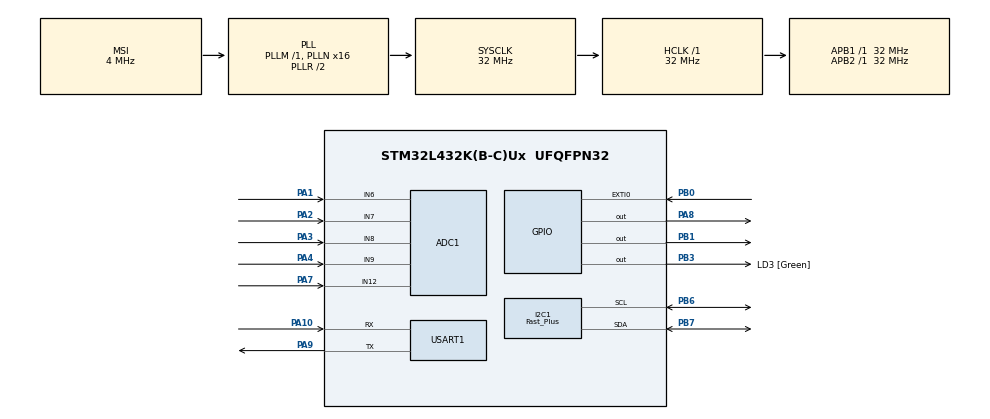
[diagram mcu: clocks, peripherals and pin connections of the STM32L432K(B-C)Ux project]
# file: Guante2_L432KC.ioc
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Mcu.Family=STM32L4
FREERTOS.Queues01=Queue1,16,struct Datos_Analogicos,0,Dynamic,NULL,NULL;Queue2,16,struct Datos_Gyro,0,Dynamic,NULL,NULL
RCC.CortexFreq_Value=32000000
I2C1.I2C_Speed_Mode=I2C_Fast_Plus
ADC1.ContinuousConvMode=ENABLE
NVIC.TIM6_DAC_IRQn=true\:5\:0\:false\:false\:true\:true\:true\:true
SH.SharedAnalog_PA4.0=GPIO_Analog
SH.SharedAnalog_PA4.1=ADC1_IN9,IN9-Single-Ended
FREERTOS.Events01=Flag,Dynamic,NULL
ADC1.OffsetNumber-4\#ChannelRegularConversion=ADC_OFFSET_NONE
PA0.GPIO_Label=MCO [High speed clock in]
PC15-OSC32_OUT\ (PC15).Mode=LSE-External-Oscillator
RCC.SYSCLKSource=RCC_SYSCLKSOURCE_PLLCLK
ProjectManager.StackSize=0x400
PB3\ (JTDO-TRACESWO).Signal=GPIO_Output
PC14-OSC32_IN\ (PC14).Mode=LSE-External-Oscillator
VP_FREERTOS_VS_CMSIS_V2.Mode=CMSIS_V2
PA14\ (JTCK-SWCLK).Signal=SYS_JTCK-SWCLK
VP_TIM7_VS_ClockSourceINT.Mode=Enable_Timer
SH.SharedAnalog_PA3.0=GPIO_Analog
ADC1.Channel-3\#ChannelRegularConversion=ADC_CHANNEL_9
RCC.HCLKFreq_Value=32000000
SH.SharedAnalog_PA3.1=ADC1_IN8,IN8-Single-Ended
RCC.APB2TimFreq_Value=32000000
PB6.Signal=I2C1_SCL
ADC1.Channel-2\#ChannelRegularConversion=ADC_CHANNEL_8
PB6.Mode=I2C
TIM7.Period=100
RCC.AHBFreq_Value=32000000
ADC1.Channel-0\#ChannelRegularConversion=ADC_CHANNEL_6
RCC.HSE_VALUE=8000000
RCC.PLLMUL=RCC_PLLMUL_4
ADC1.SamplingTime-4\#ChannelRegularConversion=ADC_SAMPLETIME_640CYCLES_5
ADC1.Rank-2\#ChannelRegularConversion=3
PA0.Mode=HSE-External-Clock-Source-for-LittleOrca
PB7.Signal=I2C1_SDA
PA8.Signal=GPIO_Output
ADC1.SamplingTime-0\#ChannelRegularConversion=ADC_SAMPLETIME_640CYCLES_5
PA0.Signal=RCC_CK_IN
Mcu.Package=UFQFPN32
PB1.Signal=GPIO_Output
PA10.Signal=USART1_RX
ADC1.OffsetNumber-1\#ChannelRegularConversion=ADC_OFFSET_NONE
RCC.APB1TimFreq_Value=32000000
PA13\ (JTMS-SWDIO).Signal=SYS_JTMS-SWDIO
NVIC.USART1_IRQn=true\:5\:0\:false\:false\:true\:true\:true\:true
NVIC.TIM7_IRQn=true\:5\:0\:false\:false\:true\:true\:true\:true
RCC.HSI48_VALUE=48000000
ADC1.Rank-4\#ChannelRegularConversion=5
RCC.PLLSAI1N=16
PA3.Signal=SharedAnalog_PA3
RCC.MSI_VALUE=4000000
PA14\ (JTCK-SWCLK).Mode=Serial_Wire
FREERTOS.Tasks01=Tarea1,24,128,Inicializacion,Default,NULL,Dynamic,NULL,NULL;Tarea2,24,128,AnalogRead,Default,NULL,Dynamic,NULL,NULL;Tarea3,24,128,Gyro,Default,NULL,Dynamic,NULL,NULL;Tarea4,24,128,EnvioDatos,Default,NULL,Dynamic,NULL,NULL
ADC1.Rank-0\#ChannelRegularConversion=1
ADC1.Channel-4\#ChannelRegularConversion=ADC_CHANNEL_12
PA10.Mode=Asynchronous
ADC1.OffsetNumber-0\#ChannelRegularConversion=ADC_OFFSET_NONE
ADC1.OffsetNumber-3\#ChannelRegularConversion=ADC_OFFSET_NONE
TIM6.Prescaler=320
VP_TIM6_VS_ClockSourceINT.Mode=Enable_Timer
PC15-OSC32_OUT\ (PC15).Signal=RCC_OSC32_OUT
PA14\ (JTCK-SWCLK).GPIO_Label=SWCLK
PB3\ (JTDO-TRACESWO).GPIO_Label=LD3 [Green]
ADC1.SamplingTime-2\#ChannelRegularConversion=ADC_SAMPLETIME_640CYCLES_5
USART1.VirtualMode-Asynchronous=VM_ASYNC
RCC.HSI16_VALUE=16000000
PA9.Mode=Asynchronous
SH.SharedAnalog_PA7.1=ADC1_IN12,IN12-Single-Ended
ProjectManager.TargetToolchain=STM32CubeIDE
SH.SharedAnalog_PA7.0=GPIO_Analog
PA9.Signal=USART1_TX
ADC1.Channel-1\#ChannelRegularConversion=ADC_CHANNEL_7
I2C1.Timing=0x00100413
RCC.USBFreq_Value=32000000
PA1.Signal=SharedAnalog_PA1
TIM7.Prescaler=320
board=NUCLEO-L432KC
RCC.VCOOutputFreq_Value=64000000
RCC.APB2Freq_Value=32000000
PA13\ (JTMS-SWDIO).GPIO_Label=SWDIO
SH.SharedAnalog_PA2.0=GPIO_Analog
SH.SharedAnalog_PA2.1=ADC1_IN7,IN7-Single-Ended
RCC.ADCFreq_Value=32000000
ADC1.NbrOfConversion=5
ADC1.OffsetNumber-2\#ChannelRegularConversion=ADC_OFFSET_NONE
Mcu.Name=STM32L432K(B-C)Ux
PA2.Signal=SharedAnalog_PA2
PA13\ (JTMS-SWDIO).Mode=Serial_Wire
NVIC.EXTI0_IRQn=true\:5\:0\:false\:false\:true\:true\:true\:true
PA4.Signal=SharedAnalog_PA4
ADC1.SamplingTime-1\#ChannelRegularConversion=ADC_SAMPLETIME_640CYCLES_5
RCC.SYSCLKFreq_VALUE=32000000
ADC1.master=1
ADC1.Rank-3\#ChannelRegularConversion=4
ADC1.SamplingTime-3\#ChannelRegularConversion=ADC_SAMPLETIME_640CYCLES_5
PC14-OSC32_IN\ (PC14).Signal=RCC_OSC32_IN
ADC1.Rank-1\#ChannelRegularConversion=2
PB7.Mode=I2C
ProjectManager.HeapSize=0x200
RCC.HSI_VALUE=16000000
SH.SharedAnalog_PA1.1=ADC1_IN6,IN6-Single-Ended
NVIC.PriorityGroup=NVIC_PRIORITYGROUP_4
SH.SharedAnalog_PA1.0=GPIO_Analog
ADC1.NbrOfConversionFlag=1
RCC.PLLN=16
RCC.APB1Freq_Value=32000000
PB0.Signal=GPXTI0
PA7.Signal=SharedAnalog_PA7

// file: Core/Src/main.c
/* USER CODE BEGIN Header */
/**
  ******************************************************************************
  * @file           : main.c
  * @brief          : Main program body
  ******************************************************************************
  * @attention
  *
  * <h2><center>&copy; Copyright (c) 2021 STMicroelectronics.
  * All rights reserved.</center></h2>
  *
  * This software component is licensed by ST under BSD 3-Clause license,
  * the "License"; You may not use this file except in compliance with the
  * License. You may obtain a copy of the License at:
  *                        opensource.org/licenses/BSD-3-Clause
  *
  ******************************************************************************
  */
/* USER CODE END Header */
#include "main.h"
#include "cmsis_os.h"
#include "math.h"
#include "fonts.h"
#include "ssd1306.h"
#include "Animacion_Carga.h"

#include "app_common_typedef.h"
#include "MPU6050.h"

#define RESCALE_GYRO 90

#define Pulgar
#define Indice
#define Medio
#define Anular
#define Menique

#define Gyroscope
#define Zigbee

ADC_HandleTypeDef hadc1;

I2C_HandleTypeDef hi2c1;

TIM_HandleTypeDef htim6;
TIM_HandleTypeDef htim7;

UART_HandleTypeDef huart1;

/* Definitions for Tarea1 */
osThreadId_t Tarea1Handle;
const osThreadAttr_t Tarea1_attributes = {
  .name = "Tarea1",
  .stack_size = 128 * 4,
  .priority = (osPriority_t) osPriorityNormal,
};
/* Definitions for Tarea2 */
osThreadId_t Tarea2Handle;
const osThreadAttr_t Tarea2_attributes = {
  .name = "Tarea2",
  .stack_size = 128 * 4,
  .priority = (osPriority_t) osPriorityNormal,
};
/* Definitions for Tarea3 */
osThreadId_t Tarea3Handle;
const osThreadAttr_t Tarea3_attributes = {
  .name = "Tarea3",
  .stack_size = 128 * 4,
  .priority = (osPriority_t) osPriorityNormal,
};
/* Definitions for Tarea4 */
osThreadId_t Tarea4Handle;
const osThreadAttr_t Tarea4_attributes = {
  .name = "Tarea4",
  .stack_size = 128 * 4,
  .priority = (osPriority_t) osPriorityNormal,
};
/* Definitions for Queue1 */
osMessageQueueId_t Queue1Handle;
const osMessageQueueAttr_t Queue1_attributes = {
  .name = "Queue1"
};
/* Definitions for Queue2 */
osMessageQueueId_t Queue2Handle;
const osMessageQueueAttr_t Queue2_attributes = {
  .name = "Queue2"
};
/* Definitions for Flag */
osEventFlagsId_t FlagHandle;
const osEventFlagsAttr_t Flag_attributes = {
  .name = "Flag"
};

void SystemClock_Config(void);
static void MX_GPIO_Init(void);
static void MX_ADC1_Init(void);
static void MX_I2C1_Init(void);
static void MX_TIM6_Init(void);
static void MX_USART1_UART_Init(void);
static void MX_TIM7_Init(void);
void Inicializacion(void *argument);
void AnalogRead(void *argument);
void Gyro(void *argument);
void EnvioDatos(void *argument);

/* USER CODE BEGIN 0 */

//GLOBAL VARIABLES HERE
float count_gyro = 0;
float dt = 0;
extern uint32_t TickGet;
uint8_t ISR_cascade = 0;

Init_State Flag_SSD_State = WAIT_TIMER_TO_BE_READY;
Gyro_State Flag_Gyro = SEARCHING_GYRO_I2C_DEVICE;
uint32_t analog_max[5]={4000,4000,4000,4000,4000};  // 0 es pulgar, 4 meñique
uint32_t analog_min[5]={0,0,0,0,0};  // 0 es pulgar, 4 meñique

//END GLOBAL VARIABLES

//DEBUG VARIABLES HERE

/* USER CODE END 0 */

int main(void)
{

  /* MCU Configuration--------------------------------------------------------*/

  /* Reset of all peripherals, Initializes the Flash interface and the Systick. */
  HAL_Init();

  /* Configure the system clock */
  SystemClock_Config();

  /* Initialize all configured peripherals */
  MX_GPIO_Init();
  MX_ADC1_Init();
  MX_I2C1_Init();
  MX_TIM6_Init();
  MX_USART1_UART_Init();
  MX_TIM7_Init();
  /* USER CODE BEGIN 2 */

  HAL_TIM_Base_Start_IT(&htim6);
  HAL_TIM_Base_Start_IT(&htim7);
  __HAL_UART_ENABLE_IT(&huart1,UART_IT_TC);

  /* USER CODE END 2 */

  /* Init scheduler */
  osKernelInitialize();

  /* Create the queue(s) */
  /* creation of Queue1 */
  Queue1Handle = osMessageQueueNew (16, sizeof(struct Datos_Analogicos), &Queue1_attributes);

  /* creation of Queue2 */
  Queue2Handle = osMessageQueueNew (16, sizeof(struct Datos_Gyro), &Queue2_attributes);

  /* Create the thread(s) */
  /* creation of Tarea1 */
  Tarea1Handle = osThreadNew(Inicializacion, NULL, &Tarea1_attributes);

  /* creation of Tarea2 */
  Tarea2Handle = osThreadNew(AnalogRead, NULL, &Tarea2_attributes);

  /* creation of Tarea3 */
  Tarea3Handle = osThreadNew(Gyro, NULL, &Tarea3_attributes);

  /* creation of Tarea4 */
  Tarea4Handle = osThreadNew(EnvioDatos, NULL, &Tarea4_attributes);

  /* Create the event(s) */
  /* creation of Flag */
  FlagHandle = osEventFlagsNew(&Flag_attributes);

  /* Start scheduler */
  osKernelStart();

  /* We should never get here as control is now taken by the scheduler */
  /* Infinite loop */
  while (1)
  {

  }
}

void ConvertData(uint8_t dato, char * datoAscii)
{
    uint8_t numDig = log10 (dato) + 1;

    char permut[3];
    itoa(dato,permut,10);

    if(2 == numDig)
    {
        *datoAscii = '0';
        datoAscii++;
        *datoAscii = permut[0];
        datoAscii++;
        *datoAscii = permut[1];
        datoAscii++;
        *datoAscii = NULL;
    }
    else if (1 == numDig)
    {
        *datoAscii = '0';
        datoAscii++;
        *datoAscii = '0';
        datoAscii++;
        *datoAscii = permut[0];
        datoAscii++;
        *datoAscii = NULL;
    }
    else
    {
        *datoAscii = permut[0];
        datoAscii++;
        *datoAscii = permut[1];
        datoAscii++;
        *datoAscii = permut[2];
        datoAscii++;
        *datoAscii = NULL;
    }
}
void SystemClock_Config(void)
{
  RCC_OscInitTypeDef RCC_OscInitStruct = {0};
  RCC_ClkInitTypeDef RCC_ClkInitStruct = {0};
  RCC_PeriphCLKInitTypeDef PeriphClkInit = {0};

  /** Configure LSE Drive Capability
  */
  HAL_PWR_EnableBkUpAccess();
  __HAL_RCC_LSEDRIVE_CONFIG(RCC_LSEDRIVE_LOW);
  /** Initializes the RCC Oscillators according to the specified parameters
  * in the RCC_OscInitTypeDef structure.
  */
  RCC_OscInitStruct.OscillatorType = RCC_OSCILLATORTYPE_LSE|RCC_OSCILLATORTYPE_MSI;
  RCC_OscInitStruct.LSEState = RCC_LSE_ON;
  RCC_OscInitStruct.MSIState = RCC_MSI_ON;
  RCC_OscInitStruct.MSICalibrationValue = 0;
  RCC_OscInitStruct.MSIClockRange = RCC_MSIRANGE_6;
  RCC_OscInitStruct.PLL.PLLState = RCC_PLL_ON;
  RCC_OscInitStruct.PLL.PLLSource = RCC_PLLSOURCE_MSI;
  RCC_OscInitStruct.PLL.PLLM = 1;
  RCC_OscInitStruct.PLL.PLLN = 16;
  RCC_OscInitStruct.PLL.PLLP = RCC_PLLP_DIV7;
  RCC_OscInitStruct.PLL.PLLQ = RCC_PLLQ_DIV2;
  RCC_OscInitStruct.PLL.PLLR = RCC_PLLR_DIV2;
  if (HAL_RCC_OscConfig(&RCC_OscInitStruct) != HAL_OK)
  {
    Error_Handler();
  }
  /** Initializes the CPU, AHB and APB buses clocks
  */
  RCC_ClkInitStruct.ClockType = RCC_CLOCKTYPE_HCLK|RCC_CLOCKTYPE_SYSCLK
                              |RCC_CLOCKTYPE_PCLK1|RCC_CLOCKTYPE_PCLK2;
  RCC_ClkInitStruct.SYSCLKSource = RCC_SYSCLKSOURCE_PLLCLK;
  RCC_ClkInitStruct.AHBCLKDivider = RCC_SYSCLK_DIV1;
  RCC_ClkInitStruct.APB1CLKDivider = RCC_HCLK_DIV1;
  RCC_ClkInitStruct.APB2CLKDivider = RCC_HCLK_DIV1;

  if (HAL_RCC_ClockConfig(&RCC_ClkInitStruct, FLASH_LATENCY_1) != HAL_OK)
  {
    Error_Handler();
  }
  PeriphClkInit.PeriphClockSelection = RCC_PERIPHCLK_USART1|RCC_PERIPHCLK_I2C1
                              |RCC_PERIPHCLK_ADC;
  PeriphClkInit.Usart1ClockSelection = RCC_USART1CLKSOURCE_PCLK2;
  PeriphClkInit.I2c1ClockSelection = RCC_I2C1CLKSOURCE_PCLK1;
  PeriphClkInit.AdcClockSelection = RCC_ADCCLKSOURCE_PLLSAI1;
  PeriphClkInit.PLLSAI1.PLLSAI1Source = RCC_PLLSOURCE_MSI;
  PeriphClkInit.PLLSAI1.PLLSAI1M = 1;
  PeriphClkInit.PLLSAI1.PLLSAI1N = 16;
  PeriphClkInit.PLLSAI1.PLLSAI1P = RCC_PLLP_DIV7;
  PeriphClkInit.PLLSAI1.PLLSAI1Q = RCC_PLLQ_DIV2;
  PeriphClkInit.PLLSAI1.PLLSAI1R = RCC_PLLR_DIV2;
  PeriphClkInit.PLLSAI1.PLLSAI1ClockOut = RCC_PLLSAI1_ADC1CLK;
  if (HAL_RCCEx_PeriphCLKConfig(&PeriphClkInit) != HAL_OK)
  {
    Error_Handler();
  }
  /** Configure the main internal regulator output voltage
  */
  if (HAL_PWREx_ControlVoltageScaling(PWR_REGULATOR_VOLTAGE_SCALE1) != HAL_OK)
  {
    Error_Handler();
  }
  /** Enable MSI Auto calibration
  */
  HAL_RCCEx_EnableMSIPLLMode();
}

static void MX_ADC1_Init(void)
{

  ADC_ChannelConfTypeDef sConfig = {0};

  /** Common config
  */
  hadc1.Instance = ADC1;
  hadc1.Init.ClockPrescaler = ADC_CLOCK_ASYNC_DIV1;
  hadc1.Init.Resolution = ADC_RESOLUTION_12B;
  hadc1.Init.DataAlign = ADC_DATAALIGN_RIGHT;
  hadc1.Init.ScanConvMode = ADC_SCAN_ENABLE;
  hadc1.Init.EOCSelection = ADC_EOC_SINGLE_CONV;
  hadc1.Init.LowPowerAutoWait = DISABLE;
  hadc1.Init.ContinuousConvMode = ENABLE;
  hadc1.Init.NbrOfConversion = 5;
  hadc1.Init.DiscontinuousConvMode = DISABLE;
  hadc1.Init.ExternalTrigConv = ADC_SOFTWARE_START;
  hadc1.Init.ExternalTrigConvEdge = ADC_EXTERNALTRIGCONVEDGE_NONE;
  hadc1.Init.DMAContinuousRequests = DISABLE;
  hadc1.Init.Overrun = ADC_OVR_DATA_PRESERVED;
  hadc1.Init.OversamplingMode = DISABLE;
  if (HAL_ADC_Init(&hadc1) != HAL_OK)
  {
    Error_Handler();
  }
  /** Configure Regular Channel
  */
  sConfig.Channel = ADC_CHANNEL_6;
  sConfig.Rank = ADC_REGULAR_RANK_1;
  sConfig.SamplingTime = ADC_SAMPLETIME_640CYCLES_5;
  sConfig.SingleDiff = ADC_SINGLE_ENDED;
  sConfig.OffsetNumber = ADC_OFFSET_NONE;
  sConfig.Offset = 0;
  if (HAL_ADC_ConfigChannel(&hadc1, &sConfig) != HAL_OK)
  {
    Error_Handler();
  }
  /** Configure Regular Channel
  */
  sConfig.Channel = ADC_CHANNEL_7;
  sConfig.Rank = ADC_REGULAR_RANK_2;
  if (HAL_ADC_ConfigChannel(&hadc1, &sConfig) != HAL_OK)
  {
    Error_Handler();
  }
  /** Configure Regular Channel
  */
  sConfig.Channel = ADC_CHANNEL_8;
  sConfig.Rank = ADC_REGULAR_RANK_3;
  if (HAL_ADC_ConfigChannel(&hadc1, &sConfig) != HAL_OK)
  {
    Error_Handler();
  }
  /** Configure Regular Channel
  */
  sConfig.Channel = ADC_CHANNEL_9;
  sConfig.Rank = ADC_REGULAR_RANK_4;
  if (HAL_ADC_ConfigChannel(&hadc1, &sConfig) != HAL_OK)
  {
    Error_Handler();
  }
  /** Configure Regular Channel
  */
  sConfig.Channel = ADC_CHANNEL_12;
  sConfig.Rank = ADC_REGULAR_RANK_5;
  if (HAL_ADC_ConfigChannel(&hadc1, &sConfig) != HAL_OK)
  {
    Error_Handler();
  }

}

static void MX_I2C1_Init(void)
{

  hi2c1.Instance = I2C1;
  hi2c1.Init.Timing = 0x00100413;
  hi2c1.Init.OwnAddress1 = 0;
  hi2c1.Init.AddressingMode = I2C_ADDRESSINGMODE_7BIT;
  hi2c1.Init.DualAddressMode = I2C_DUALADDRESS_DISABLE;
  hi2c1.Init.OwnAddress2 = 0;
  hi2c1.Init.OwnAddress2Masks = I2C_OA2_NOMASK;
  hi2c1.Init.GeneralCallMode = I2C_GENERALCALL_DISABLE;
  hi2c1.Init.NoStretchMode = I2C_NOSTRETCH_DISABLE;
  if (HAL_I2C_Init(&hi2c1) != HAL_OK)
  {
    Error_Handler();
  }
  /** Configure Analogue filter
  */
  if (HAL_I2CEx_ConfigAnalogFilter(&hi2c1, I2C_ANALOGFILTER_ENABLE) != HAL_OK)
  {
    Error_Handler();
  }
  /** Configure Digital filter
  */
  if (HAL_I2CEx_ConfigDigitalFilter(&hi2c1, 0) != HAL_OK)
  {
    Error_Handler();
  }
  /** I2C Fast mode Plus enable
  */
  HAL_I2CEx_EnableFastModePlus(I2C_FASTMODEPLUS_I2C1);

}

static void MX_TIM6_Init(void)
{

  TIM_MasterConfigTypeDef sMasterConfig = {0};

  htim6.Instance = TIM6;
  htim6.Init.Prescaler = 320;
  htim6.Init.CounterMode = TIM_COUNTERMODE_UP;
  htim6.Init.Period = 65535;
  htim6.Init.AutoReloadPreload = TIM_AUTORELOAD_PRELOAD_DISABLE;
  if (HAL_TIM_Base_Init(&htim6) != HAL_OK)
  {
    Error_Handler();
  }
  sMasterConfig.MasterOutputTrigger = TIM_TRGO_RESET;
  sMasterConfig.MasterSlaveMode = TIM_MASTERSLAVEMODE_DISABLE;
  if (HAL_TIMEx_MasterConfigSynchronization(&htim6, &sMasterConfig) != HAL_OK)
  {
    Error_Handler();
  }

}

static void MX_TIM7_Init(void)
{

  TIM_MasterConfigTypeDef sMasterConfig = {0};

  htim7.Instance = TIM7;
  htim7.Init.Prescaler = 320;
  htim7.Init.CounterMode = TIM_COUNTERMODE_UP;
  htim7.Init.Period = 100;
  htim7.Init.AutoReloadPreload = TIM_AUTORELOAD_PRELOAD_DISABLE;
  if (HAL_TIM_Base_Init(&htim7) != HAL_OK)
  {
    Error_Handler();
  }
  sMasterConfig.MasterOutputTrigger = TIM_TRGO_RESET;
  sMasterConfig.MasterSlaveMode = TIM_MASTERSLAVEMODE_DISABLE;
  if (HAL_TIMEx_MasterConfigSynchronization(&htim7, &sMasterConfig) != HAL_OK)
  {
    Error_Handler();
  }

}

static void MX_USART1_UART_Init(void)
{

  huart1.Instance = USART1;
  huart1.Init.BaudRate = 115200;
  huart1.Init.WordLength = UART_WORDLENGTH_8B;
  huart1.Init.StopBits = UART_STOPBITS_1;
  huart1.Init.Parity = UART_PARITY_NONE;
  huart1.Init.Mode = UART_MODE_TX_RX;
  huart1.Init.HwFlowCtl = UART_HWCONTROL_NONE;
  huart1.Init.OverSampling = UART_OVERSAMPLING_16;
  huart1.Init.OneBitSampling = UART_ONE_BIT_SAMPLE_DISABLE;
  huart1.AdvancedInit.AdvFeatureInit = UART_ADVFEATURE_NO_INIT;
  if (HAL_UART_Init(&huart1) != HAL_OK)
  {
    Error_Handler();
  }

}

static void MX_GPIO_Init(void)
{
  GPIO_InitTypeDef GPIO_InitStruct = {0};

  /* GPIO Ports Clock Enable */
  __HAL_RCC_GPIOC_CLK_ENABLE();
  __HAL_RCC_GPIOA_CLK_ENABLE();
  __HAL_RCC_GPIOB_CLK_ENABLE();

  /*Configure GPIO pin Output Level */
  HAL_GPIO_WritePin(GPIOB, GPIO_PIN_1|LD3_Pin, GPIO_PIN_RESET);

  /*Configure GPIO pin Output Level */
  HAL_GPIO_WritePin(GPIOA, GPIO_PIN_8, GPIO_PIN_RESET);

  /*Configure GPIO pin : PB0 */
  GPIO_InitStruct.Pin = GPIO_PIN_0;
  GPIO_InitStruct.Mode = GPIO_MODE_IT_RISING;
  GPIO_InitStruct.Pull = GPIO_NOPULL;
  HAL_GPIO_Init(GPIOB, &GPIO_InitStruct);

  /*Configure GPIO pins : PB1 LD3_Pin */
  GPIO_InitStruct.Pin = GPIO_PIN_1|LD3_Pin;
  GPIO_InitStruct.Mode = GPIO_MODE_OUTPUT_PP;
  GPIO_InitStruct.Pull = GPIO_NOPULL;
  GPIO_InitStruct.Speed = GPIO_SPEED_FREQ_LOW;
  HAL_GPIO_Init(GPIOB, &GPIO_InitStruct);

  /*Configure GPIO pin : PA8 */
  GPIO_InitStruct.Pin = GPIO_PIN_8;
  GPIO_InitStruct.Mode = GPIO_MODE_OUTPUT_PP;
  GPIO_InitStruct.Pull = GPIO_NOPULL;
  GPIO_InitStruct.Speed = GPIO_SPEED_FREQ_LOW;
  HAL_GPIO_Init(GPIOA, &GPIO_InitStruct);

  /* EXTI interrupt init*/
  HAL_NVIC_SetPriority(EXTI0_IRQn, 5, 0);
  HAL_NVIC_EnableIRQ(EXTI0_IRQn);

}

/* USER CODE BEGIN 4 */

void HAL_TIM_PeriodElapsedCallback(TIM_HandleTypeDef *htim)
{
	if(&htim6 == htim){
		count_gyro++;
	}
	else if(&htim7 == htim){
		TickGet++;
	}
}

void HAL_GPIO_EXTI_Callback(uint16_t GPIO_Pin)
{
	if(GPIO_Pin == GPIO_PIN_0)
	{
		if(0U == ISR_cascade)
		{
			osEventFlagsSet(FlagHandle, 1U);
			ISR_cascade = 1;
		}
	}
}

/* USER CODE END 4 */

void Inicializacion(void *argument)
{
  /* USER CODE BEGIN 5 */
	HAL_StatusTypeDef status;
	HAL_StatusTypeDef Flag_SSD1306;

	uint8_t Calibration_fail = 0;

	HAL_GPIO_WritePin(GPIOB, GPIO_PIN_1, GPIO_PIN_RESET); //PCB Led Green
	HAL_GPIO_WritePin(GPIOA, GPIO_PIN_8, GPIO_PIN_RESET); //PCB Led Red
  /* Infinite loop */
  for(;;)
  {

	  switch(Flag_SSD_State)
	  {
	  case WAIT_TIMER_TO_BE_READY:
		  if(1000 < TickGet) //before 30000
		  {
			  Flag_SSD_State = SEARCHING_OLED_I2C_DEVICE ; //waiting for timer to be established
		  }
		  break;
	  case SEARCHING_OLED_I2C_DEVICE:
		  //Flag_Gyro = SEARCHING_GYRO_I2C_DEVICE;
		  Flag_SSD1306 = HAL_I2C_IsDeviceReady(&hi2c1, SSD1306_I2C_ADDR, 1, 1000); //before to the 20000 ms timeout
		  if(HAL_OK == Flag_SSD1306)
		  {
			  Flag_SSD_State = OLED_IS_AVAILABLE;	//i2c screen is available
		  }
		  else
		  {
			  Flag_SSD_State = OLED_IS_NOT_AVAILABLE; //i2c is not available
		  }

		  if(1U == Calibration_fail)
		  {
			  Calibration_fail = 0;
		  }

		  HAL_GPIO_WritePin(GPIOB, GPIO_PIN_1, GPIO_PIN_RESET);
		  HAL_GPIO_WritePin(GPIOA, GPIO_PIN_8, GPIO_PIN_RESET);

		  osEventFlagsClear(FlagHandle,1U); // Clear Flag 1 and 2
		  osEventFlagsClear(FlagHandle,2U); // Clear Flag 1 and 2
		  break;
	  case OLED_IS_AVAILABLE:					//init oled screen
		  SSD1306_Init();
		  SSD1306_Clear();
		  SSD1306_GotoXY(0, 0);
		  SSD1306_Puts("INICIANDO..", &Font_11x18, 1);
		  SSD1306_UpdateScreen();

		  for(int i = 0; i<4; i++)
		  {
			  for(int j = 0; j<38; j++)
			  {
				  SSD1306_DrawFilledRectangle(0, 20, 128, 45, 0x00);
				  SSD1306_DrawBitmap(0, 20, Animacion[j], 128, 45, 1);
				  SSD1306_UpdateScreen();
			  }
		  }
		  SSD1306_Clear();

		  SSD1306_GotoXY(0, 0);
		  SSD1306_Puts("INICIANDO..", &Font_11x18, 1);

		  SSD1306_GotoXY(0, 30);
		  SSD1306_Puts("Pulsa para", &Font_7x10, 1);
		  SSD1306_GotoXY(0, 50);
		  SSD1306_Puts("calibrar", &Font_7x10, 1);
		  SSD1306_UpdateScreen();

		  ISR_cascade = 0;
		  osEventFlagsWait(FlagHandle, 1U, osFlagsNoClear, osWaitForever); // wait Flag 1 from ISR
		  Flag_SSD_State = CALIBRATION_OLED;
		  break;
	  case OLED_IS_NOT_AVAILABLE:
		  HAL_GPIO_WritePin(GPIOB, GPIO_PIN_1, GPIO_PIN_SET);
		  HAL_GPIO_WritePin(GPIOA, GPIO_PIN_8, GPIO_PIN_SET);
		  ISR_cascade = 0U;
		  osEventFlagsWait(FlagHandle, 1U, osFlagsNoClear, osWaitForever);
		  HAL_GPIO_WritePin(GPIOB, GPIO_PIN_1, GPIO_PIN_RESET);
		  HAL_GPIO_WritePin(GPIOA, GPIO_PIN_8, GPIO_PIN_RESET);
		  osEventFlagsClear(FlagHandle,2U);
		  //initialitation by a led is available
		  Flag_SSD_State = INIT_WITH_LED;
		  break;
	  case CALIBRATION_OLED:
		  osEventFlagsClear(FlagHandle,1U);
		  Flag_SSD_State = RUNNING_O;
		  break;
	  case INIT_WITH_LED:
		  osEventFlagsClear(FlagHandle,1U);
		  Flag_SSD_State = RUNNING_L;
		  break;
	  case RUNNING_O:
		  if(0U == Calibration_fail)
		  {
			  osEventFlagsSet(FlagHandle,2U);
		  }
		  ISR_cascade = 0U;
		  osEventFlagsWait(FlagHandle, 1U, osFlagsNoClear, osWaitForever);
		  osEventFlagsClear(FlagHandle,2U);
		  osEventFlagsClear(FlagHandle,4U);
		  osEventFlagsClear(FlagHandle,8U);
		  osDelay(200);
		  Flag_SSD_State = SEARCHING_OLED_I2C_DEVICE;
		  break;
	  case RUNNING_L:
		  if(0U == Calibration_fail)
		  {
			  osEventFlagsSet(FlagHandle,2U);
		  }
		  ISR_cascade = 0U;
		  osEventFlagsWait(FlagHandle, 1U, osFlagsNoClear, osWaitForever);
		  osEventFlagsClear(FlagHandle,2U);
		  osEventFlagsClear(FlagHandle,4U);
		  osEventFlagsClear(FlagHandle,8U);
		  osDelay(200);
		  Flag_SSD_State = SEARCHING_OLED_I2C_DEVICE;
		  break;
	  }

	  //only if init can be done by one of two's options, the FW can be run

	  if((CALIBRATION_OLED == Flag_SSD_State) || (INIT_WITH_LED == Flag_SSD_State))
	  {
		  if(CALIBRATION_OLED == Flag_SSD_State)
		  {
			  SSD1306_Clear();

			  SSD1306_GotoXY(0, 0);
			  SSD1306_Puts("CALIBRACION", &Font_11x18, 1);

			  SSD1306_GotoXY(0, 30);
			  SSD1306_Puts("Abre la", &Font_7x10, 1);
			  SSD1306_GotoXY(0, 50);
			  SSD1306_Puts("mano", &Font_7x10, 1);
			  SSD1306_UpdateScreen();

			  SSD1306_GotoXY(90, 35);
			  SSD1306_Puts("3", &Font_11x18, 1);
			  SSD1306_UpdateScreen();
			  osDelay(1000);

			  SSD1306_GotoXY(90, 35);
			  SSD1306_Puts("2", &Font_11x18, 1);
			  SSD1306_UpdateScreen();
			  osDelay(1000);

			  SSD1306_GotoXY(90, 35);
			  SSD1306_Puts("1", &Font_11x18, 1);
			  SSD1306_UpdateScreen();
			  osDelay(1000);

			  SSD1306_GotoXY(90, 35);
			  SSD1306_Puts("0", &Font_11x18, 1);
			  SSD1306_UpdateScreen();
			  osDelay(1000);
			  SSD1306_DrawFilledRectangle(0, 20, 128, 45, 0x00);
			  SSD1306_UpdateScreen();
		  }

		  if(INIT_WITH_LED == Flag_SSD_State)
		  {
			  // Open the hand 3 seconds

			  for(int i = 0; i < 6; i++)
			  {
				  HAL_GPIO_TogglePin(GPIOA,GPIO_PIN_8); //Led Red
				  osDelay(500);
			  }

			 HAL_GPIO_WritePin(GPIOA, GPIO_PIN_8, GPIO_PIN_RESET);
		  }

			HAL_ADC_Start(&hadc1);
			status = HAL_ADC_PollForConversion(&hadc1, 1);
			if(status == HAL_OK)
			{
#ifdef Medio
				analog_max[2] = HAL_ADC_GetValue(&hadc1);
#endif //Medio
			}

			status = HAL_ADC_PollForConversion(&hadc1, 1);
			if(status == HAL_OK)
			{
#ifdef Indice
				analog_max[1] = HAL_ADC_GetValue(&hadc1);
#endif //Indice
			}

			status = HAL_ADC_PollForConversion(&hadc1, 1);
			if(status == HAL_OK)
			{
#ifdef Menique
				analog_max[4] = HAL_ADC_GetValue(&hadc1);
#endif //Menique
			}

			status = HAL_ADC_PollForConversion(&hadc1, 1);
			if(status == HAL_OK)
			{
#ifdef Anular
				analog_max[3] = HAL_ADC_GetValue(&hadc1);
#endif //Anular
			}

			status = HAL_ADC_PollForConversion(&hadc1, 1);
			if(status == HAL_OK)
			{
#ifdef Pulgar
				analog_max[0] = HAL_ADC_GetValue(&hadc1);
#endif //Pulgar
			}

			HAL_ADC_Stop(&hadc1);

			if(CALIBRATION_OLED == Flag_SSD_State)
			{
				SSD1306_GotoXY(0, 30);
				SSD1306_Puts("Cierra la", &Font_7x10, 1);
				SSD1306_GotoXY(0, 50);
				SSD1306_Puts("mano", &Font_7x10, 1);
				SSD1306_UpdateScreen();

				SSD1306_GotoXY(90, 35);
				SSD1306_Puts("3", &Font_11x18, 1);
				SSD1306_UpdateScreen();
				osDelay(1000);

				SSD1306_GotoXY(90, 35);
				SSD1306_Puts("2", &Font_11x18, 1);
				SSD1306_UpdateScreen();
				osDelay(1000);

				SSD1306_GotoXY(90, 35);
				SSD1306_Puts("1", &Font_11x18, 1);
				SSD1306_UpdateScreen();
				osDelay(1000);

				SSD1306_GotoXY(90, 35);
				SSD1306_Puts("0", &Font_11x18, 1);
				SSD1306_UpdateScreen();
				osDelay(1000);
				SSD1306_DrawFilledRectangle(0, 20, 128, 45, 0x00);
				SSD1306_UpdateScreen();
			}

			if(INIT_WITH_LED == Flag_SSD_State)
			{
				//Close the hand 3 seconds

				for(int i = 0; i < 6; i++){
				  HAL_GPIO_TogglePin(GPIOB,GPIO_PIN_1); //Led Green
				  osDelay(500);
				}

				HAL_GPIO_WritePin(GPIOB, GPIO_PIN_1, GPIO_PIN_RESET);
			}

			HAL_ADC_Start(&hadc1);
			status = HAL_ADC_PollForConversion(&hadc1, 1);
			if(status == HAL_OK)
			{
#ifdef Medio
				analog_min[2] = HAL_ADC_GetValue(&hadc1);
#endif //Medio
			}

			status = HAL_ADC_PollForConversion(&hadc1, 1);
			if(status == HAL_OK)
			{
#ifdef Indice
				analog_min[1] = HAL_ADC_GetValue(&hadc1);
#endif //Indice
			}

			status = HAL_ADC_PollForConversion(&hadc1, 1);
			if(status == HAL_OK)
			{
#ifdef Menique
				analog_min[4] = HAL_ADC_GetValue(&hadc1);
#endif //Menique

			}

			status = HAL_ADC_PollForConversion(&hadc1, 1);
			if(status == HAL_OK)
			{
#ifdef Anular
				analog_min[3] = HAL_ADC_GetValue(&hadc1);
#endif //Anular
			}

			status = HAL_ADC_PollForConversion(&hadc1, 1);
			if(status == HAL_OK)
			{
#ifdef Pulgar
				analog_min[0] = HAL_ADC_GetValue(&hadc1);
#endif //Pulgar
			}

			HAL_ADC_Stop(&hadc1);
			if(
#ifdef Pulgar
			   analog_max[0] > analog_min[0]
#endif //Pulgar
#if defined(Pulgar) && (defined(Indice)||defined(Medio)||defined(Anular)||defined(Menique))
				&&
#endif
#ifdef Indice
			   analog_max[1] > analog_min[1]
#endif //Indice
#if defined(Indice) && (defined(Medio)||defined(Anular)||defined(Menique))
				&&
#endif
#ifdef Medio
			   analog_max[2] > analog_min[2]
#endif //Medio
#if defined(Medio) && (defined(Anular)||defined(Menique))
				&&
#endif
#ifdef Anular
			   analog_max[3] > analog_min[3]
#endif //Anular
#if defined(Anular) && defined(Menique)
				&&
#endif
#ifdef Menique
			   analog_max[4] > analog_min[4]
#endif //Menique
												)
			{

				osDelay(2000);

				if(CALIBRATION_OLED == Flag_SSD_State)
				{
					SSD1306_Clear();

					SSD1306_GotoXY(0, 0);
					SSD1306_Puts("CALIBRACION", &Font_11x18, 1);

					SSD1306_GotoXY(0, 30);
					SSD1306_Puts("Calibracion", &Font_7x10, 1);
					SSD1306_GotoXY(0, 50);
					SSD1306_Puts("Correcta", &Font_7x10, 1);
					SSD1306_UpdateScreen();
					osDelay(2000);
				}
				else if(INIT_WITH_LED == Flag_SSD_State)
				{
					HAL_GPIO_WritePin(GPIOB, GPIO_PIN_1, GPIO_PIN_SET);
					osDelay(1000);
				}
				osDelay(1000);
				//xEventGroupClearBits(FlagHandle, 1);
				//xEventGroupSetBits(FlagHandle, 2); //envio de datos
			}
			else
			{
				if(CALIBRATION_OLED == Flag_SSD_State)
				{
					SSD1306_Clear();

					SSD1306_GotoXY(0, 0);
					SSD1306_Puts("CALIBRACION", &Font_11x18, 1);
					SSD1306_GotoXY(0, 30);
					SSD1306_Puts("Calibracion", &Font_7x10, 1);
					SSD1306_GotoXY(0, 50);
					SSD1306_Puts("Incorrecta", &Font_7x10, 1);
					SSD1306_UpdateScreen();

					osDelay(1000);
					SSD1306_Clear();

					SSD1306_GotoXY(0, 0);
					SSD1306_Puts("CALIBRACION", &Font_11x18, 1);
					SSD1306_GotoXY(0, 30);
					SSD1306_Puts("Pulsa para", &Font_7x10, 1);
					SSD1306_GotoXY(0, 50);
					SSD1306_Puts("Calibrar", &Font_7x10, 1);

					SSD1306_GotoXY(90, 35);
					SSD1306_Puts("!!", &Font_11x18, 1);

					SSD1306_UpdateScreen();
				}

				else if(INIT_WITH_LED == Flag_SSD_State)
				{
					HAL_GPIO_WritePin(GPIOA, GPIO_PIN_8, GPIO_PIN_SET);
					osDelay(2000);
					HAL_GPIO_WritePin(GPIOA, GPIO_PIN_8, GPIO_PIN_RESET);
				}

				Calibration_fail = 1;
			}
		}

	 	osDelay(10);
  }
  /* USER CODE END 5 */
}

void AnalogRead(void *argument)
{
  /* USER CODE BEGIN AnalogRead */
	HAL_StatusTypeDef status;
	struct Datos_Analogicos lectura;

	uint32_t datos[5];
	uint32_t datos_f[5] = {0,0,0,0,0};
	uint8_t grados_pack[5]={0,0,0,0,0};
  /* Infinite loop */
  for(;;)
  {
	  osEventFlagsWait(FlagHandle, 2U, osFlagsNoClear, osWaitForever);

	  if(RUNNING_L == Flag_SSD_State)
	  {
		  HAL_GPIO_WritePin(GPIOB, GPIO_PIN_1, GPIO_PIN_SET); //Led Green
	  }

	  HAL_ADC_Start(&hadc1);
		 status = HAL_ADC_PollForConversion(&hadc1, 5);
		 if(status == HAL_OK)
		 {
#ifdef Medio
			 datos[2] = HAL_ADC_GetValue(&hadc1);
#endif //Medio
		 }

		 status = HAL_ADC_PollForConversion(&hadc1, 5);
		 if(status == HAL_OK)
		 {
#ifdef Indice
			 datos[1] = HAL_ADC_GetValue(&hadc1);
#endif //Indice
		 }

		status = HAL_ADC_PollForConversion(&hadc1, 5);
		 if(status == HAL_OK)
		 {
#ifdef Menique
			 datos[4] = HAL_ADC_GetValue(&hadc1);
#endif //Menique
		 }

		status = HAL_ADC_PollForConversion(&hadc1, 5);
		 if(status == HAL_OK)
		 {
#ifdef Anular
			 datos[3] = HAL_ADC_GetValue(&hadc1);
#endif //Anular
		 }

		status = HAL_ADC_PollForConversion(&hadc1, 5);
		 if(status == HAL_OK)
		 {
#ifdef Pulgar
			 datos[0] = HAL_ADC_GetValue(&hadc1);
#endif //Pulgar
		 }

	 HAL_ADC_Stop(&hadc1);

	 //pulgar
	 //110 abierto, 50 cerrao
	 //tercer servo, 150 cerrao, 50 abierto

	 for(int k = 0; k<5; k++)
	 {
		 if(datos[k] > analog_max[k])
		 {
			 datos[k] = analog_max[k];
		 }
		 else if(datos[k] < analog_min[k])
		 {
			datos[k] = analog_min[k];
		 }

		 datos_f[k] = 0.3*datos[k] + 0.7*datos_f[k]; //filter

		 if(0 == k)
		 {
			 grados_pack[k] = 110 - ((analog_max[k] - datos_f[k]) * (110-50)) / (analog_max[k] - analog_min[k] + 1); //el + 1 es para evitar dividir entre 0 en el caso de que algun dedo no funcione

			 if(grados_pack[k] > 110)
			 {
				 grados_pack[k] = 110;
			 }
			 else if(grados_pack[k] < 50)
			 {
				 grados_pack[k] = 50;
			 }
		 }
		 else
		 {
		 	 grados_pack[k] = 180 - ((analog_max[k] - datos_f[k]) * (180 - 25)) / (analog_max[k] - analog_min[k] + 1); //el + 1 es para evitar dividir entre 0 en el caso de que algun dedo no funcione

			 if(grados_pack[k] > 180)
			 {
				 grados_pack[k] = 180;
			 }
			 else if(grados_pack[k] < 25)
			 {
				 grados_pack[k] = 25;
			 }
		 }
	 }

#ifdef Pulgar
	 lectura.Analog_pulgar = grados_pack[0];
#endif //Pulgar
#ifdef Indice
	 lectura.Analog_indice = grados_pack[1];
#endif //Indice
#ifdef Medio
	 lectura.Analog_corazon = grados_pack[2];
#endif //Medio
#ifdef Anular
	 lectura.Analog_anular = grados_pack[3];
#endif //Anular
#ifdef Menique
	 lectura.Analog_menique = grados_pack[4];
#endif //Menique

#if defined(Pulgar)||defined(Indice)||defined(Medio)||defined(Anular)||defined(Menique)
	 osMessageQueuePut(Queue1Handle, &lectura, 0, 0);
#endif //defined(Pulgar)||defined(Indice)||defined(Medio)||defined(Anular)||defined(Menique)

	 osEventFlagsClear(FlagHandle,2U);
	 osEventFlagsSet(FlagHandle,4U);

	 osDelay(20);
  }
  /* USER CODE END AnalogRead */
}

void Gyro(void *argument)
{
  /* USER CODE BEGIN Gyro */
#ifdef Gyroscope
	//
	struct AccelFunction datosA;
	struct GyroFunction datosG;
	float AnguloX, AnguloY;
	struct Datos_Gyro Inclinacion;
	HAL_StatusTypeDef Flag_MPU6050;
#endif //Gyroscope

  /* Infinite loop */
  for(;;)
  {
	  osEventFlagsWait(FlagHandle, 4U, osFlagsNoClear, osWaitForever);
#ifdef Gyroscope
	  switch(Flag_Gyro)
	  {
	  case SEARCHING_GYRO_I2C_DEVICE:
		  Flag_MPU6050 = HAL_I2C_IsDeviceReady(&hi2c1, MPU6050_ADDR, 1, 1000);
		  if(HAL_OK == Flag_MPU6050)
		  {
			  Flag_Gyro = GYRO_IS_AVAILABLE;
		  }
		  else
		  {
			  Flag_Gyro = GYRO_IS_NOT_AVAILABLE;
		  }
		  break;

	  case GYRO_IS_AVAILABLE:
		  MPU6050_Init(&hi2c1);
		  Flag_Gyro = RUNNING_GYRO;
		  break;

	  case GYRO_IS_NOT_AVAILABLE:
		  Flag_Gyro = RUNNING_WITHOUT_GYRO;
		  break;
	  case RUNNING_GYRO:
		  datosG = MPU6050_Read_Gyro(&hi2c1);
		  datosA = MPU6050_Read_Accel(&hi2c1);

		  dt = count_gyro/1000;
		  count_gyro = 0;

		  //swaped scales from -90º/90º to 0º/180º
		  AnguloX = 0.98*(AnguloX + datosG.Gx*dt) + 0.02*datosA.Ax;
		  AnguloY = 0.98*(AnguloY + datosG.Gy*dt) + 0.02*datosA.Ay;

		  Inclinacion.AnguloX = (uint8_t)(AnguloX + 90);
		  Inclinacion.AnguloY = (uint8_t)(AnguloY + 90);

		  if(130 < Inclinacion.AnguloX)
		  {
			  Inclinacion.AnguloX = 130;
		  }
		  else if(50 > Inclinacion.AnguloX)
		  {
			  Inclinacion.AnguloX = 50;
		  }

		  if(130 < Inclinacion.AnguloY)
		  {
			  Inclinacion.AnguloY = 130;
		  }
		  else if(50 > Inclinacion.AnguloY)
		  {
			  Inclinacion.AnguloY = 50;
		  }
		  osMessageQueuePut(Queue2Handle, &Inclinacion, 0, 0);
		  break;
	  case RUNNING_WITHOUT_GYRO:
		  //if gyro doesn't work, angles set to 90º
		  Inclinacion.AnguloX = 90;
		  Inclinacion.AnguloY = 90;
		  osMessageQueuePut(Queue2Handle, &Inclinacion, 0, 0);
		  break;
	  }

#endif //Gyroscope
	osEventFlagsClear(FlagHandle,4U);
    osEventFlagsSet(FlagHandle,8U);

    osDelay(20);
  }
  /* USER CODE END Gyro */
}

void EnvioDatos(void *argument)
{
  /* USER CODE BEGIN EnvioDatos */
#if defined(Pulgar)||defined(Indice)||defined(Medio)||defined(Anular)||defined(Menique)
	osStatus_t val1;
	struct Datos_Analogicos buff1;
#endif //#if defined(Pulgar)||defined(Indice)||defined(Medio)||defined(Anular)||defined(Menique)

#ifdef Gyroscope
	osStatus_t val2;
	struct Datos_Gyro buff2;
#endif //Gyroscope
	char display[4];
	uint8_t BufferTx[9];
  /* Infinite loop */
  for(;;)
  {
    //xEventGroupWaitBits(FlagHandle,2,pdFALSE,pdFALSE,portMAX_DELAY);
    osEventFlagsWait(FlagHandle, 8U, osFlagsNoClear, osWaitForever);

#if defined(Pulgar)||defined(Indice)||defined(Medio)||defined(Anular)||defined(Menique)
	val1 = osMessageQueueGet(Queue1Handle, &buff1, NULL, 0);
#endif // defined(Pulgar)||defined(Indice)||defined(Medio)||defined(Anular)||defined(Menique)
#ifdef Gyroscope
	val2 = osMessageQueueGet(Queue2Handle, &buff2, NULL, 0);
#endif //Gyroscope

    //DISPLAY
	  if(GYRO_IS_AVAILABLE == Flag_Gyro)
	  {
		  SSD1306_Clear();

		  SSD1306_GotoXY(0, 0);
		  SSD1306_Puts("CALIBRACION", &Font_11x18, 1);
		  SSD1306_GotoXY(0, 30);
		  SSD1306_Puts("GYRO", &Font_7x10, 1);
		  SSD1306_GotoXY(0, 50);
		  SSD1306_Puts("DISPONIBLE", &Font_7x10, 1);
		  SSD1306_UpdateScreen();
		  osDelay(3000);

		  SSD1306_Clear();
	  }
	  else if(GYRO_IS_NOT_AVAILABLE == Flag_Gyro)
	  {
		  SSD1306_Clear();

		  SSD1306_GotoXY(0, 0);
		  SSD1306_Puts("CALIBRACION", &Font_11x18, 1);
		  SSD1306_GotoXY(0, 30);
		  SSD1306_Puts("GYRO", &Font_7x10, 1);
		  SSD1306_GotoXY(0, 50);
		  SSD1306_Puts("NO DISPONIBLE", &Font_7x10, 1);
		  SSD1306_UpdateScreen();
		  osDelay(3000);

		  SSD1306_Clear();
	  }

	  if(RUNNING_O == Flag_SSD_State)
	  {
		  SSD1306_GotoXY(0, 0);
		  SSD1306_Puts("FUNCIONANDO", &Font_11x18, 1);

		  SSD1306_GotoXY(0, 20);
		  SSD1306_Puts("P:", &Font_7x10, 1);
		  SSD1306_GotoXY(15, 20);
		  ConvertData(BufferTx[1], display);
		  SSD1306_Puts(display, &Font_7x10, 1);

		  SSD1306_GotoXY(0, 35);
		  SSD1306_Puts("I:", &Font_7x10, 1);
		  SSD1306_GotoXY(15, 35);
		  ConvertData(BufferTx[2], display);
		  SSD1306_Puts(display, &Font_7x10, 1);

		  SSD1306_GotoXY(0, 50);
		  SSD1306_Puts("C:", &Font_7x10, 1);
		  SSD1306_GotoXY(15, 50);
		  ConvertData(BufferTx[3], display);
		  SSD1306_Puts(display, &Font_7x10, 1);

		  SSD1306_GotoXY(46, 20);
		  SSD1306_Puts("A:", &Font_7x10, 1);
		  SSD1306_GotoXY(61, 20);
		  ConvertData(BufferTx[4], display);
		  SSD1306_Puts(display, &Font_7x10, 1);

		  SSD1306_GotoXY(46, 35);
		  SSD1306_Puts("M:", &Font_7x10, 1);
		  SSD1306_GotoXY(61, 35);
		  ConvertData(BufferTx[5], display);
		  SSD1306_Puts(display, &Font_7x10, 1);

		  if((RUNNING_GYRO == Flag_Gyro) || (RUNNING_WITHOUT_GYRO == Flag_Gyro))
		  {
		  	  SSD1306_GotoXY(92, 20);
		  	  SSD1306_Puts("X-Y", &Font_7x10, 1);
		  	  SSD1306_GotoXY(92, 35);
		  	  ConvertData(BufferTx[6], display);
		  	  SSD1306_Puts(display, &Font_7x10, 1);
		  	  SSD1306_GotoXY(92, 50);
		  	  ConvertData(BufferTx[7], display);
		  	  SSD1306_Puts(display, &Font_7x10, 1);
		  }

		  SSD1306_UpdateScreen();
	  }

	if(
#if defined(Pulgar)||defined(Indice)||defined(Medio)||defined(Anular)||defined(Menique)
	   (val1 == osOK)
#endif // defined(Pulgar)||defined(Indice)||defined(Medio)||defined(Anular)||defined(Menique)
#if (defined(Pulgar)||defined(Indice)||defined(Medio)||defined(Anular)||defined(Menique)) && defined(Gyroscope)
	   &&
#endif
#ifdef Gyroscope
	   (val2 == osOK)
#endif //Gyroscope
	   	   	   	     )
	{

		  BufferTx[0] = 200;
#ifdef Pulgar
		  BufferTx[1] = buff1.Analog_pulgar;
#endif //Puglar
#ifdef Indice
		  BufferTx[2] = buff1.Analog_indice;
#endif //Indice
#ifdef Medio
		  BufferTx[3] = buff1.Analog_corazon;
#endif //Medio
#ifdef Anular
		  BufferTx[4] = buff1.Analog_anular;
#endif //Anular
#ifdef Menique
		  BufferTx[5] = buff1.Analog_menique;
#endif //Menique

#ifdef Gyroscope
		  BufferTx[6] = buff2.AnguloX;
		  BufferTx[7] = buff2.AnguloY;
#endif //Gyroscope

		  BufferTx[8] = 0xA;

#ifdef Zigbee
		  HAL_UART_Transmit_IT(&huart1, BufferTx, 9);
#endif //Zigbee
	}
	osEventFlagsClear(FlagHandle,8U);
    osEventFlagsSet(FlagHandle,2U);

    osDelay(20);
  }
  /* USER CODE END EnvioDatos */
}

void Error_Handler(void)
{
  __disable_irq();
  while (1)
  {
  }
}

/************************ (C) COPYRIGHT STMicroelectronics *****END OF FILE****/
